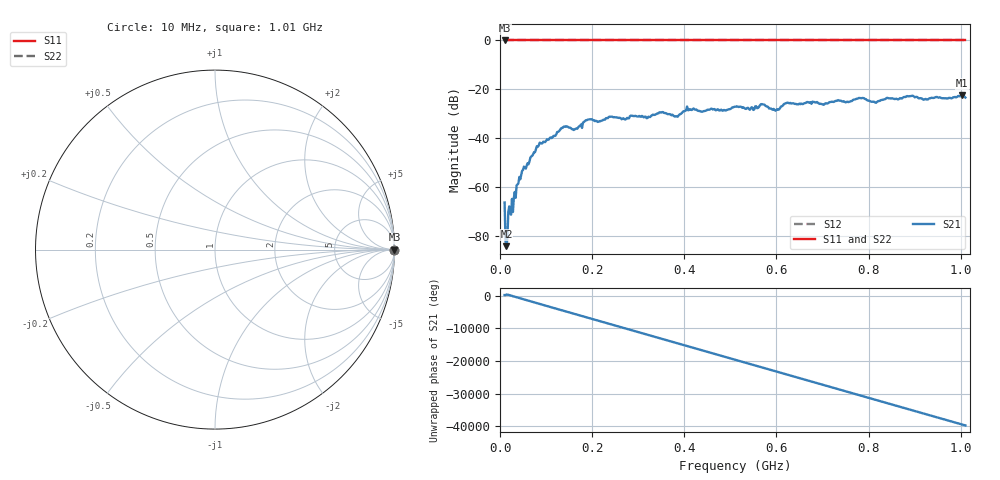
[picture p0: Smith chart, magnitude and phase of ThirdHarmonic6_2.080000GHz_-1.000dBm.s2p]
! 8/17/2025 12:54:32 AM
! C:\ANRITSUVNA\TEMP\TEMP.S2P
! CHANNEL.1
! TR.MEASUREMENT
! RAW.DATA
! RF.CORRECTION.OFF
! AVERAGING.OFF
! IF.BANDWIDTH: 5KHZ
! SWEEPTYPE:  FREQ.SWEEP(Linear)
! Reference Plane Port Info
! PORT:  PORT1  PORT2
! DISTANCE:  0  m  0  m
! TIME:  0  s  0  s
! PHASE.OFFSET:  0  deg.  0  deg.
! LOSS:  0  dB  0  dB
! REF.LOSS:  0  dB  0  dB
! REF.FREQ:  0  Hz  0  Hz
! Power Info
! POWER:  -20  dBm  -20  dBm
! EFF.POWER:  -20  dBm  -20  dBm
! SOURCE.ATTEN:  0  dB  0  dB
! TEST.ATTEN:  0  dB  0  dB
# GHZ S RI R 50.0
! FREQ.GHZ  S11RE  S11IM  S21RE  S21IM  S12RE  S12IM  S22RE  S22IM
!; PortSelection: Port_12
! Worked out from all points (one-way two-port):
!   501 points, 10 MHz to 1.01 GHz, reference 50 ohm
!   highest |S21| = -22.45 dB at 1.002 GHz (marker M1); lowest = -84.3 dB at 14 MHz (marker M2)
!   lowest |S11| = 0.0 dB at 10 MHz (marker M3)
!   |S11| at or under -10 dB: nowhere
!   |S22| runs from 0.0 to 0.0 dB; largest |S21 - S12| = 1.1
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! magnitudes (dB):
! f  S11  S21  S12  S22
! 10 MHz  0.0  -66.4  0.0  0.0
! 14 MHz  0.0  -84.3  0.0  0.0
! 16 MHz  0.0  -81.3  0.0  0.0
! 22 MHz  0.0  -70.6  0.0  0.0
! 26 MHz  0.0  -64.9  0.0  0.0
! 46 MHz  0.0  -55.2  0.0  0.0
! 82 MHz  0.0  -43.6  0.0  0.0
! 136 MHz  0.0  -35.8  0.0  0.0
! 164 MHz  0.0  -36.2  0.0  0.0
! 178 MHz  0.0  -35.8  0.0  0.0
! 194 MHz  0.0  -32.3  0.0  0.0
! 344 MHz  0.0  -29.9  0.0  0.0
! 382 MHz  0.0  -31.0  0.0  0.0
! 408 MHz  0.0  -28.6  0.0  0.0
! 510 MHz  0.0  -27.2  0.0  0.0
! 570 MHz  0.0  -26.1  0.0  0.0
! 600 MHz  0.0  -28.5  0.0  0.0
! 622 MHz  0.0  -25.6  0.0  0.0
! 678 MHz  0.0  -25.1  0.0  0.0
! 844 MHz  0.0  -23.7  0.0  0.0
! 1.002 GHz  0.0  -22.4  0.0  0.0
! 1.01 GHz  0.0  -23.4  0.0  0.0
